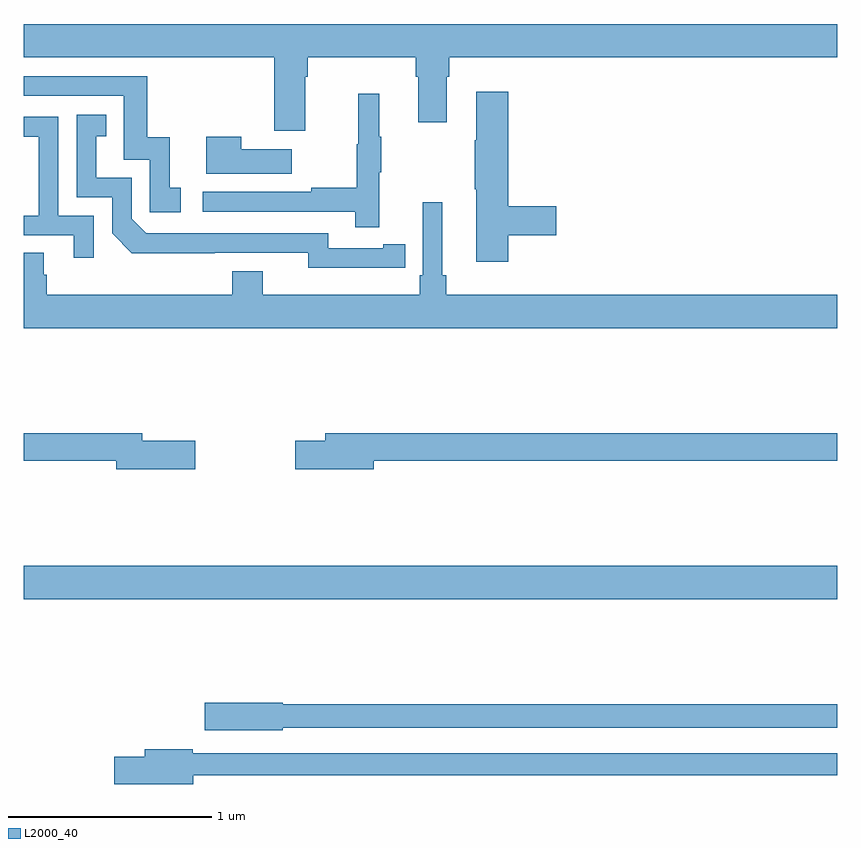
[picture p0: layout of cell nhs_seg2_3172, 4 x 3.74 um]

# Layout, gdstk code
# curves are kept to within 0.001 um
import gdstk
lib = gdstk.Library(unit=1e-6, precision=1e-09)
def R(c, l, rs):  # rectangles x0, y0, x1, y1
    for r in rs: c.add(gdstk.rectangle(r[:2], r[2:], *l))
def P(c, l, *ps):  # polygons
    for p in ps: c.add(gdstk.Polygon(p, *l))
L2000_40 = (2000, 40)

nhs_seg2_3172 = lib.new_cell('nhs_seg2_3172')
R(nhs_seg2_3172, L2000_40, [(277,656.96,281,657.124)])
P(nhs_seg2_3172, L2000_40, [(278.383,659.528),(278.396,659.528),(278.396,659.624),(278.927,659.624),(278.927,659.528),(278.939,659.528),(278.939,659.304),(279.079,659.304),(279.079,659.528),(279.092,659.528),(279.092,659.624),(281,659.624),(281,659.788),(277,659.788),(277,659.624),(278.231,659.624),(278.231,659.262),(278.383,659.262)],
  [(277.771,658.983),(277.718,658.983),(277.718,659.23),(277.607,659.23),(277.607,659.532),(277,659.532),(277,659.436),(277.491,659.436),(277.491,659.121),(277.62,659.121),(277.62,658.863),(277.771,658.863)],
  [(279.383,658.75),(279.619,658.75),(279.619,658.892),(279.383,658.892),(279.383,659.455),(279.224,659.455),(279.224,659.216),(279.217,659.216),(279.217,658.975),(279.224,658.975),(279.224,658.62),(279.383,658.62)],
  [(278.747,659.059),(278.758,659.059),(278.758,659.233),(278.747,659.233),(278.747,659.446),(278.644,659.446),(278.644,659.196),(278.637,659.196),(278.637,658.982),(278.413,658.982),(278.413,658.962),(277.881,658.962),(277.881,658.866),(278.629,658.866),(278.629,658.788),(278.747,658.788)],
  [(278.768,658.59),(278.876,658.59),(278.876,658.706),(278.768,658.706),(278.768,658.686),(278.496,658.686),(278.496,658.758),(277.602,658.758),(277.53,658.83),(277.53,659.031),(277.357,659.031),(277.357,659.235),(277.406,659.235),(277.406,659.341),(277.26,659.341),(277.26,658.935),(277.434,658.935),(277.434,658.758),(277.532,658.661),(278.4,658.662),(278.4,658.589)],
  [(277.344,658.845),(277.17,658.845),(277.17,659.331),(277,659.331),(277,659.234),(277.074,659.234),(277.074,658.845),(277,658.845),(277,658.749),(277.247,658.749),(277.247,658.638),(277.344,658.638)],
  [(278.317,659.173),(278.069,659.173),(278.069,659.233),(277.898,659.233),(277.898,659.051),(278.317,659.051)],
  [(281,658.456),(279.077,658.456),(279.077,658.552),(279.058,658.552),(279.058,658.912),(278.961,658.912),(278.961,658.552),(278.948,658.552),(278.948,658.456),(278.176,658.456),(278.176,658.573),(278.024,658.573),(278.024,658.456),(277.112,658.456),(277.112,658.554),(277.099,658.554),(277.099,658.664),(277,658.664),(277,658.292),(281,658.292)],
  [(277.843,657.74),(277.582,657.74),(277.582,657.776),(277,657.776),(277,657.64),(277.454,657.64),(277.454,657.598),(277.843,657.598)],
  [(278.722,657.64),(281,657.64),(281,657.776),(278.483,657.776),(278.483,657.74),(278.334,657.74),(278.334,657.598),(278.722,657.598)],
  [(278.274,656.328),(281,656.328),(281,656.444),(278.274,656.444),(278.274,656.45),(277.89,656.45),(277.89,656.315),(278.274,656.315)],
  [(277.834,656.094),(281,656.094),(281,656.202),(277.83,656.202),(277.83,656.222),(277.595,656.222),(277.595,656.186),(277.446,656.186),(277.446,656.051),(277.834,656.051)])

lib.write_gds('nhs_seg2_3172.gds')
